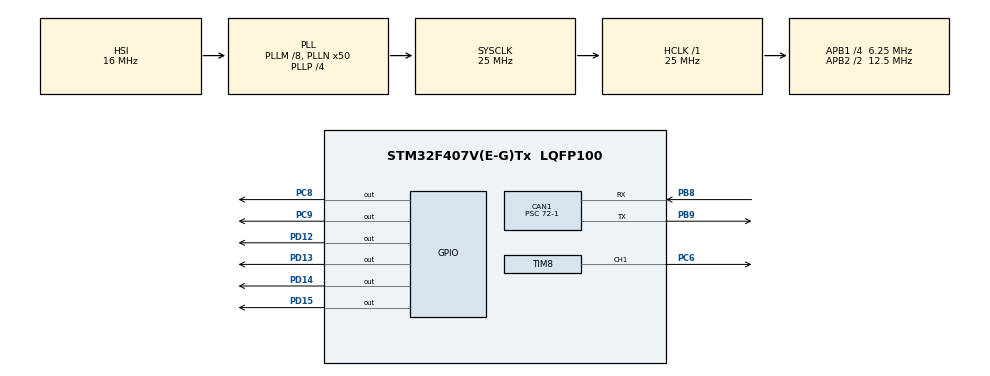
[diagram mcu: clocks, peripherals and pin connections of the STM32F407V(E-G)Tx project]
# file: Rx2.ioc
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CAN1.BS1=CAN_BS1_2TQ
CAN1.CalculateBaudRate=22007
CAN1.CalculateTimeBit=45440
CAN1.CalculateTimeQuantum=11360.0
CAN1.Prescaler=72-1
Mcu.Family=STM32F4
Mcu.Name=STM32F407V(E-G)Tx
Mcu.Package=LQFP100
NVIC.CAN1_RX0_IRQn=true\:0\:0\:false\:false\:true\:true\:true\:true
NVIC.PriorityGroup=NVIC_PRIORITYGROUP_0
PB8.Mode=CAN_Activate
PB8.Signal=CAN1_RX
PB9.Mode=CAN_Activate
PB9.Signal=CAN1_TX
PC6.Signal=S_TIM8_CH1
PC8.Signal=GPIO_Output
PC9.Signal=GPIO_Output
PD12.Signal=GPIO_Output
PD13.Signal=GPIO_Output
PD14.Signal=GPIO_Output
PD15.Signal=GPIO_Output
PH0-OSC_IN.Mode=HSE-External-Oscillator
PH0-OSC_IN.Signal=RCC_OSC_IN
PH1-OSC_OUT.Mode=HSE-External-Oscillator
PH1-OSC_OUT.Signal=RCC_OSC_OUT
ProjectManager.HeapSize=0x200
ProjectManager.StackSize=0x400
ProjectManager.TargetToolchain=STM32CubeIDE
RCC.48MHZClocksFreq_Value=14285714.285714285
RCC.AHBFreq_Value=25000000
RCC.APB1CLKDivider=RCC_HCLK_DIV4
RCC.APB1Freq_Value=6250000
RCC.APB1TimFreq_Value=12500000
RCC.APB2CLKDivider=RCC_HCLK_DIV2
RCC.APB2Freq_Value=12500000
RCC.APB2TimFreq_Value=25000000
RCC.CortexFreq_Value=25000000
RCC.HCLKFreq_Value=25000000
RCC.HSE_VALUE=8000000
RCC.HSI_VALUE=16000000
RCC.LSE_VALUE=32768
RCC.PLLM=8
RCC.PLLN=50
RCC.PLLP=RCC_PLLP_DIV4
RCC.PLLQ=7
RCC.SYSCLKFreq_VALUE=25000000
RCC.SYSCLKSource=RCC_SYSCLKSOURCE_PLLCLK
RCC.VCOOutputFreq_Value=100000000
SH.S_TIM8_CH1.0=TIM8_CH1,PWM Generation1 CH1
TIM8.Channel-PWM\ Generation1\ CH1=TIM_CHANNEL_1
TIM8.Period=100-1
TIM8.Prescaler=72-1
VP_TIM8_VS_ClockSourceINT.Mode=Internal
board=STM32F407G-DISC1

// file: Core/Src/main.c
/* USER CODE BEGIN Header */
/**
  ******************************************************************************
  * @file           : main.c
  * @brief          : Main program body
  ******************************************************************************
  * @attention
  *
  * Copyright (c) 2023 STMicroelectronics.
  * All rights reserved.
  *
  * This software is licensed under terms that can be found in the LICENSE file
  * in the root directory of this software component.
  * If no LICENSE file comes with this software, it is provided AS-IS.
  *
  ******************************************************************************
  */
/* USER CODE END Header */
#include "main.h"

/* USER CODE BEGIN Includes */
#include<stdio.h>
/* USER CODE END Includes */

CAN_HandleTypeDef hcan1;

TIM_HandleTypeDef htim8;

void SystemClock_Config(void);
static void MX_GPIO_Init(void);
static void MX_CAN1_Init(void);
static void MX_TIM8_Init(void);

/* USER CODE BEGIN 0 */
CAN_RxHeaderTypeDef RxHeader;
uint8_t RxData[5];

void HAL_CAN_RxFifo0MsgPendingCallback(CAN_HandleTypeDef *hcan){

	HAL_GPIO_WritePin(GPIOD, GPIO_PIN_15, GPIO_PIN_SET); // blue
	HAL_CAN_GetRxMessage(&hcan1, CAN_RX_FIFO0, &RxHeader, RxData);
}
/* USER CODE END 0 */

int main(void)
{

  /* MCU Configuration--------------------------------------------------------*/

  /* Reset of all peripherals, Initializes the Flash interface and the Systick. */
  HAL_Init();

  /* Configure the system clock */
  SystemClock_Config();

  /* Initialize all configured peripherals */
  MX_GPIO_Init();
  MX_CAN1_Init();
  MX_TIM8_Init();
  /* USER CODE BEGIN 2 */
  HAL_CAN_Start(&hcan1);
  HAL_CAN_ActivateNotification(&hcan1, CAN_IT_RX_FIFO0_MSG_PENDING);
  HAL_Delay(100);
  HAL_Delay(100);

  /* USER CODE END 2 */

  /* Infinite loop */
  /* USER CODE BEGIN WHILE */
  while (1)
  {
	  int i=0;
	  HAL_GPIO_WritePin(GPIOC, GPIO_PIN_8, 1);
	  HAL_GPIO_WritePin(GPIOC, GPIO_PIN_9, 0);
	  HAL_TIM_PWM_Start(&htim8, TIM_CHANNEL_1);

	  switch(RxData[0])
	  {
	  	  case '1':
	  		while(1)
	  						{
	  			  	  			for(i=40; i<=50;i++)
	  			  	  			{
	  			  	  			  	htim8.Instance->CCR1 = i;
	  			  	  				HAL_GPIO_TogglePin(GPIOD, GPIO_PIN_12);
	  			  	  				if(RxData[0] != 1)
	  			  	  				{
	  			  	  					break;
	  			  	  				}
	  			  	   	  		}
	  			  	  			break;
	  			  	  		}
	  	  break;

	  	  case '2':
	  		while(1)
	  		  						{
	  		  			  	  			for(i=50; i<=75;i++)
	  		  			  	  			{
	  		  			  	  			  	htim8.Instance->CCR1 = i;
	  		  			  	  				HAL_GPIO_TogglePin(GPIOD, GPIO_PIN_13);
	  		  			  	  				if(RxData[0] != 1)
	  		  			  	  				{
	  		  			  	  					break;
	  		  			  	  				}
	  		  			  	   	  		}
	  		  			  	  			break;
	  		  			  	  		}
	  					break;

	  	 case '3':
	  		  		while(1)
	  		  		  						{
	  		  		  			  	  			for(i=75; i<=100;i++)
	  		  		  			  	  			{
	  		  		  			  	  			  	htim8.Instance->CCR1 = i;
	  		  		  			  	  				HAL_GPIO_TogglePin(GPIOD, GPIO_PIN_14);
	  		  		  			  	  				if(RxData[0] != 1)
	  		  		  			  	  				{
	  		  		  			  	  					break;
	  		  		  			  	  				}
	  		  		  			  	   	  		}
	  		  		  			  	  			break;
	  		  		  			  	  		}
	  		  			break;
	  }

	  		if(RxData[0] == 'S'){
	  			HAL_GPIO_WritePin(GPIOD, GPIO_PIN_14, GPIO_PIN_SET); //
	  		}

    /* USER CODE END WHILE */

  }
}

void SystemClock_Config(void)
{
  RCC_OscInitTypeDef RCC_OscInitStruct = {0};
  RCC_ClkInitTypeDef RCC_ClkInitStruct = {0};

  /** Configure the main internal regulator output voltage
  */
  __HAL_RCC_PWR_CLK_ENABLE();
  __HAL_PWR_VOLTAGESCALING_CONFIG(PWR_REGULATOR_VOLTAGE_SCALE1);

  /** Initializes the RCC Oscillators according to the specified parameters
  * in the RCC_OscInitTypeDef structure.
  */
  RCC_OscInitStruct.OscillatorType = RCC_OSCILLATORTYPE_HSI;
  RCC_OscInitStruct.HSIState = RCC_HSI_ON;
  RCC_OscInitStruct.HSICalibrationValue = RCC_HSICALIBRATION_DEFAULT;
  RCC_OscInitStruct.PLL.PLLState = RCC_PLL_ON;
  RCC_OscInitStruct.PLL.PLLSource = RCC_PLLSOURCE_HSI;
  RCC_OscInitStruct.PLL.PLLM = 8;
  RCC_OscInitStruct.PLL.PLLN = 50;
  RCC_OscInitStruct.PLL.PLLP = RCC_PLLP_DIV4;
  RCC_OscInitStruct.PLL.PLLQ = 7;
  if (HAL_RCC_OscConfig(&RCC_OscInitStruct) != HAL_OK)
  {
    Error_Handler();
  }

  /** Initializes the CPU, AHB and APB buses clocks
  */
  RCC_ClkInitStruct.ClockType = RCC_CLOCKTYPE_HCLK|RCC_CLOCKTYPE_SYSCLK
                              |RCC_CLOCKTYPE_PCLK1|RCC_CLOCKTYPE_PCLK2;
  RCC_ClkInitStruct.SYSCLKSource = RCC_SYSCLKSOURCE_PLLCLK;
  RCC_ClkInitStruct.AHBCLKDivider = RCC_SYSCLK_DIV1;
  RCC_ClkInitStruct.APB1CLKDivider = RCC_HCLK_DIV4;
  RCC_ClkInitStruct.APB2CLKDivider = RCC_HCLK_DIV2;

  if (HAL_RCC_ClockConfig(&RCC_ClkInitStruct, FLASH_LATENCY_0) != HAL_OK)
  {
    Error_Handler();
  }
}

static void MX_CAN1_Init(void)
{

  hcan1.Instance = CAN1;
  hcan1.Init.Prescaler = 72-1;
  hcan1.Init.Mode = CAN_MODE_NORMAL;
  hcan1.Init.SyncJumpWidth = CAN_SJW_1TQ;
  hcan1.Init.TimeSeg1 = CAN_BS1_2TQ;
  hcan1.Init.TimeSeg2 = CAN_BS2_1TQ;
  hcan1.Init.TimeTriggeredMode = DISABLE;
  hcan1.Init.AutoBusOff = DISABLE;
  hcan1.Init.AutoWakeUp = DISABLE;
  hcan1.Init.AutoRetransmission = DISABLE;
  hcan1.Init.ReceiveFifoLocked = DISABLE;
  hcan1.Init.TransmitFifoPriority = DISABLE;
  if (HAL_CAN_Init(&hcan1) != HAL_OK)
  {
    Error_Handler();
  }
  /* USER CODE BEGIN CAN1_Init 2 */
  CAN_FilterTypeDef canFilterConfig;
  canFilterConfig.FilterActivation=CAN_FILTER_ENABLE;
  canFilterConfig.SlaveStartFilterBank=14;
  canFilterConfig.FilterBank=2;
  canFilterConfig.FilterFIFOAssignment=CAN_RX_FIFO0;
  canFilterConfig.FilterScale=CAN_FILTERSCALE_32BIT;
  canFilterConfig.FilterMode=CAN_FILTERMODE_IDMASK;
  canFilterConfig.FilterMaskIdLow=0x0000;
  canFilterConfig.FilterMaskIdHigh=0xFF00;
  canFilterConfig.FilterIdLow=0x0000;
  canFilterConfig.FilterIdHigh=0x1500;
  HAL_CAN_ConfigFilter(&hcan1, &canFilterConfig);
  /* USER CODE END CAN1_Init 2 */

}

static void MX_TIM8_Init(void)
{

  TIM_ClockConfigTypeDef sClockSourceConfig = {0};
  TIM_MasterConfigTypeDef sMasterConfig = {0};
  TIM_OC_InitTypeDef sConfigOC = {0};
  TIM_BreakDeadTimeConfigTypeDef sBreakDeadTimeConfig = {0};

  htim8.Instance = TIM8;
  htim8.Init.Prescaler = 72-1;
  htim8.Init.CounterMode = TIM_COUNTERMODE_UP;
  htim8.Init.Period = 100-1;
  htim8.Init.ClockDivision = TIM_CLOCKDIVISION_DIV1;
  htim8.Init.RepetitionCounter = 0;
  htim8.Init.AutoReloadPreload = TIM_AUTORELOAD_PRELOAD_DISABLE;
  if (HAL_TIM_Base_Init(&htim8) != HAL_OK)
  {
    Error_Handler();
  }
  sClockSourceConfig.ClockSource = TIM_CLOCKSOURCE_INTERNAL;
  if (HAL_TIM_ConfigClockSource(&htim8, &sClockSourceConfig) != HAL_OK)
  {
    Error_Handler();
  }
  if (HAL_TIM_PWM_Init(&htim8) != HAL_OK)
  {
    Error_Handler();
  }
  sMasterConfig.MasterOutputTrigger = TIM_TRGO_RESET;
  sMasterConfig.MasterSlaveMode = TIM_MASTERSLAVEMODE_DISABLE;
  if (HAL_TIMEx_MasterConfigSynchronization(&htim8, &sMasterConfig) != HAL_OK)
  {
    Error_Handler();
  }
  sConfigOC.OCMode = TIM_OCMODE_PWM1;
  sConfigOC.Pulse = 0;
  sConfigOC.OCPolarity = TIM_OCPOLARITY_HIGH;
  sConfigOC.OCNPolarity = TIM_OCNPOLARITY_HIGH;
  sConfigOC.OCFastMode = TIM_OCFAST_DISABLE;
  sConfigOC.OCIdleState = TIM_OCIDLESTATE_RESET;
  sConfigOC.OCNIdleState = TIM_OCNIDLESTATE_RESET;
  if (HAL_TIM_PWM_ConfigChannel(&htim8, &sConfigOC, TIM_CHANNEL_1) != HAL_OK)
  {
    Error_Handler();
  }
  sBreakDeadTimeConfig.OffStateRunMode = TIM_OSSR_DISABLE;
  sBreakDeadTimeConfig.OffStateIDLEMode = TIM_OSSI_DISABLE;
  sBreakDeadTimeConfig.LockLevel = TIM_LOCKLEVEL_OFF;
  sBreakDeadTimeConfig.DeadTime = 0;
  sBreakDeadTimeConfig.BreakState = TIM_BREAK_DISABLE;
  sBreakDeadTimeConfig.BreakPolarity = TIM_BREAKPOLARITY_HIGH;
  sBreakDeadTimeConfig.AutomaticOutput = TIM_AUTOMATICOUTPUT_DISABLE;
  if (HAL_TIMEx_ConfigBreakDeadTime(&htim8, &sBreakDeadTimeConfig) != HAL_OK)
  {
    Error_Handler();
  }
  HAL_TIM_MspPostInit(&htim8);

}

static void MX_GPIO_Init(void)
{
  GPIO_InitTypeDef GPIO_InitStruct = {0};

  /* GPIO Ports Clock Enable */
  __HAL_RCC_GPIOH_CLK_ENABLE();
  __HAL_RCC_GPIOD_CLK_ENABLE();
  __HAL_RCC_GPIOC_CLK_ENABLE();
  __HAL_RCC_GPIOB_CLK_ENABLE();

  /*Configure GPIO pin Output Level */
  HAL_GPIO_WritePin(GPIOD, GPIO_PIN_12|GPIO_PIN_13|GPIO_PIN_14|GPIO_PIN_15, GPIO_PIN_RESET);

  /*Configure GPIO pin Output Level */
  HAL_GPIO_WritePin(GPIOC, GPIO_PIN_8|GPIO_PIN_9, GPIO_PIN_RESET);

  /*Configure GPIO pins : PD12 PD13 PD14 PD15 */
  GPIO_InitStruct.Pin = GPIO_PIN_12|GPIO_PIN_13|GPIO_PIN_14|GPIO_PIN_15;
  GPIO_InitStruct.Mode = GPIO_MODE_OUTPUT_PP;
  GPIO_InitStruct.Pull = GPIO_NOPULL;
  GPIO_InitStruct.Speed = GPIO_SPEED_FREQ_LOW;
  HAL_GPIO_Init(GPIOD, &GPIO_InitStruct);

  /*Configure GPIO pins : PC8 PC9 */
  GPIO_InitStruct.Pin = GPIO_PIN_8|GPIO_PIN_9;
  GPIO_InitStruct.Mode = GPIO_MODE_OUTPUT_PP;
  GPIO_InitStruct.Pull = GPIO_NOPULL;
  GPIO_InitStruct.Speed = GPIO_SPEED_FREQ_LOW;
  HAL_GPIO_Init(GPIOC, &GPIO_InitStruct);

}

void Error_Handler(void)
{
  __disable_irq();
  while (1)
  {
  }
}
